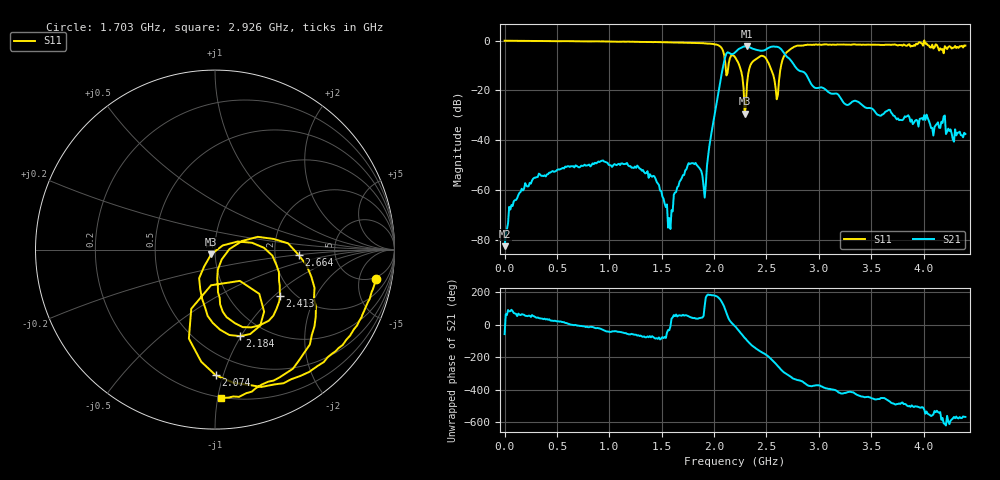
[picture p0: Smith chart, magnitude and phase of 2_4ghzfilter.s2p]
# HZ S RI R 50
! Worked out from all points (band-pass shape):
!   404 points, 50 kHz to 4.4 GHz, reference 50 ohm
!   highest |S21| = -2.28 dB at 2.315 GHz (marker M1); lowest = -82.6 dB at 50 kHz (marker M2)
!   |S21| within 3 dB of the highest: 2.117 GHz to 2.158 GHz (40.14 MHz wide, 1.88 % of centre); 2.184 GHz to 2.673 GHz (489 MHz wide, 20.1 % of centre)
!   lowest |S11| = -29.3 dB at 2.293 GHz (marker M3), VSWR 1.07, Z = 47.8 - j2.54 ohm
!   |S11| at or under -10 dB: 2.109 GHz to 2.138 GHz (28.18 MHz wide, 1.33 % of centre); 2.241 GHz to 2.346 GHz (104.8 MHz wide, 4.57 % of centre); 2.53 GHz to 2.64 GHz (110.3 MHz wide, 4.27 % of centre)
!   S12 and S22 are empty: the file has one direction only
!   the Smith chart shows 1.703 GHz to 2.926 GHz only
!   S11 on the Smith chart (normalised r, x): 1.703 GHz: 4.49, -8.77; 2.074 GHz: 0.34, -0.94; 2.184 GHz: 0.77, -0.99; 2.413 GHz: 1.69, -1.09; 2.664 GHz: 2.75, -0.22; 2.926 GHz: 0.20, -1.02
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50000  -0.9953 0.0303  3.91e-05 -6.32e-05  0 0  0 0
1.856558e8  -0.8554 0.4892  0.000529 0.000915  0 0  0 0
7.424733e8  0.1563 0.9529  0.003 -0.000504  0 0  0 0
1.473979e9  0.9124 0.2016  0.00024 -0.00123  0 0  0 0
1.583159e9  0.9235 0.0354  0.000161 -3.19e-05  0 0  0 0
1.703256e9  0.8975 -0.1639  0.000994 0.00172  0 0  0 0
1.812436e9  0.8198 -0.3659  0.0025 0.00216  0 0  0 0
1.910698e9  0.6881 -0.5488  -0.000309 0.000631  0 0  0 0
2.074468e9  0.00408 -0.7002  -0.168 0.1519  0 0  0 0
2.11814e9  -0.022 -0.1987  0.1671 0.524  0 0  0 0
2.183648e9  0.1399 -0.4823  0.5433 0.0054  0 0  0 0
2.205484e9  0.0288 -0.4467  0.5779 -0.1361  0 0  0 0
2.292828e9  -0.0215 -0.0265  0.1104 -0.7555  0 0  0 0
2.314664e9  0.1267 0.045  -0.1 -0.7624  0 0  0 0
2.412926e9  0.3623 -0.2583  -0.573 -0.2992  0 0  0 0
2.598532e9  0.0377 -0.0546  -0.2954 0.6932  0 0  0 0
2.66404e9  0.4679 -0.0319  0.2134 0.5346  0 0  0 0
2.926071e9  0.0345 -0.8267  0.1293 -0.0422  0 0  0 0
2.936989e9  0.0021 -0.8193  0.1199 -0.0389  0 0  0 0
3.319119e9  -0.7457 -0.3795  0.0337 -0.0489  0 0  0 0
3.668495e9  -0.7679 0.2985  -0.0128 -0.0387  0 0  0 0
4.4e9  0.0839 0.7914  -0.0119 0.006  0 0  0 0
